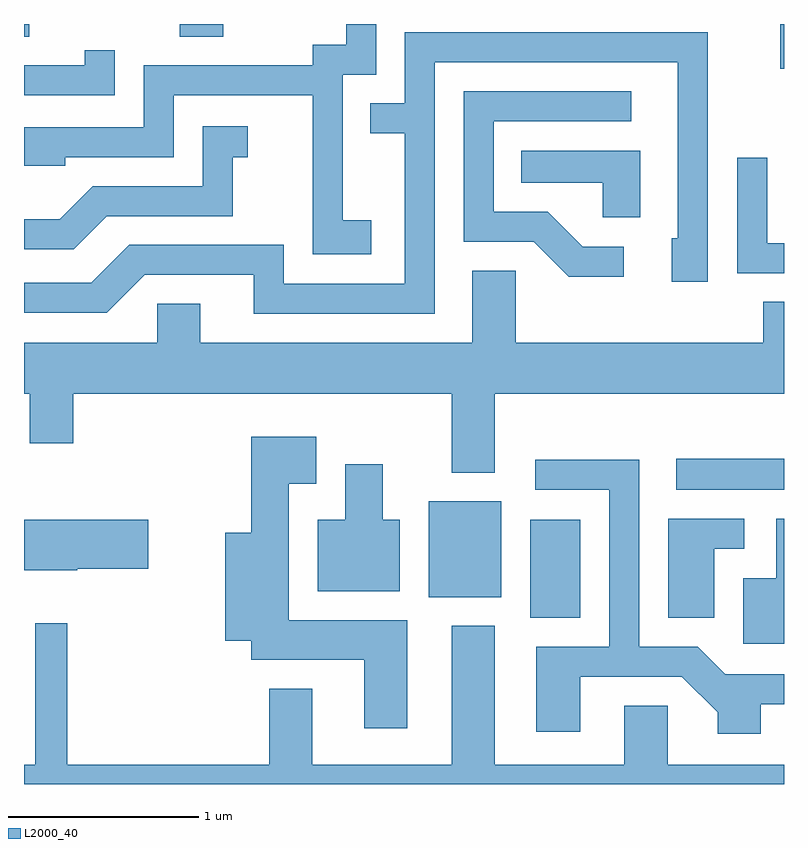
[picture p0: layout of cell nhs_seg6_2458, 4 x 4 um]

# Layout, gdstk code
import gdstk
lib = gdstk.Library(unit=1e-6, precision=1e-09)
def R(c, l, rs):  # rectangles x0, y0, x1, y1
    for r in rs: c.add(gdstk.rectangle(r[:2], r[2:], *l))
def P(c, l, *ps):  # polygons
    for p in ps: c.add(gdstk.Polygon(p, *l))
L2000_40 = (2000, 40)

nhs_seg6_2458 = lib.new_cell('nhs_seg6_2458')
R(nhs_seg6_2458, L2000_40, [(262.276,1591.036,262.539,1591.554), (261.741,1591.146,262.124,1591.649), (263.043,1591.711,263.611,1591.874), (263.591,1593.926,263.611,1594.162), (259.611,1594.096,259.639,1594.162), (260.431,1594.096,260.659,1594.162)])
P(nhs_seg6_2458, L2000_40, [(261.439,1593.129),(261.289,1593.129),(261.289,1593.896),(261.464,1593.896),(261.464,1594.162),(261.306,1594.162),(261.306,1594.054),(261.131,1594.054),(261.131,1593.944),(260.241,1593.944),(260.241,1593.619),(259.611,1593.619),(259.611,1593.416),(259.829,1593.416),(259.829,1593.461),(260.399,1593.461),(260.399,1593.786),(261.131,1593.786),(261.131,1592.951),(261.439,1592.951)],
  [(261.774,1593.961),(263.051,1593.961),(263.051,1593.034),(263.021,1593.034),(263.021,1592.806),(263.209,1592.806),(263.209,1594.119),(261.616,1594.119),(261.616,1593.744),(261.433,1593.744),(261.433,1593.586),(261.616,1593.586),(261.616,1592.794),(260.979,1592.794),(260.979,1592.999),(260.164,1592.999),(259.964,1592.799),(259.611,1592.799),(259.611,1592.641),(260.046,1592.641),(260.247,1592.841),(260.821,1592.841),(260.821,1592.636),(261.774,1592.636)],
  [(260.089,1594.023),(259.931,1594.023),(259.931,1593.944),(259.611,1593.944),(259.611,1593.786),(260.089,1593.786)],
  [(262.768,1592.989),(262.552,1592.989),(262.367,1593.174),(262.084,1593.174),(262.084,1593.651),(262.808,1593.651),(262.808,1593.809),(261.926,1593.809),(261.926,1593.016),(262.294,1593.016),(262.479,1592.831),(262.768,1592.831)],
  [(260.046,1593.151),(260.709,1593.151),(260.709,1593.461),(260.788,1593.461),(260.788,1593.624),(260.551,1593.624),(260.551,1593.309),(259.974,1593.309),(259.799,1593.134),(259.611,1593.134),(259.611,1592.976),(259.872,1592.976)],
  [(262.854,1593.494),(262.228,1593.494),(262.228,1593.326),(262.656,1593.326),(262.656,1593.146),(262.854,1593.146)],
  [(263.611,1593.009),(263.524,1593.009),(263.524,1593.458),(263.366,1593.458),(263.366,1592.851),(263.611,1592.851)],
  [(262.089,1592.216),(263.611,1592.216),(263.611,1592.699),(263.501,1592.699),(263.501,1592.484),(262.199,1592.484),(262.199,1592.864),(261.971,1592.864),(261.971,1592.484),(260.539,1592.484),(260.539,1592.689),(260.311,1592.689),(260.311,1592.484),(259.611,1592.484),(259.611,1592.216),(259.641,1592.216),(259.641,1591.956),(259.869,1591.956),(259.869,1592.216),(261.861,1592.216),(261.861,1591.801),(262.089,1591.801)],
  [(261.629,1591.024),(261.004,1591.024),(261.004,1591.741),(261.149,1591.741),(261.149,1591.989),(260.806,1591.989),(260.806,1591.484),(260.671,1591.484),(260.671,1590.916),(260.806,1590.916),(260.806,1590.816),(261.401,1590.816),(261.401,1590.456),(261.629,1590.456)],
  [(263.489,1590.581),(263.611,1590.581),(263.611,1590.739),(263.302,1590.739),(263.157,1590.884),(262.849,1590.884),(262.849,1591.869),(262.303,1591.869),(262.303,1591.711),(262.691,1591.711),(262.691,1590.884),(262.306,1590.884),(262.306,1590.436),(262.539,1590.436),(262.539,1590.726),(263.074,1590.726),(263.261,1590.539),(263.261,1590.426),(263.489,1590.426)],
  [(261.589,1591.554),(261.499,1591.554),(261.499,1591.844),(261.301,1591.844),(261.301,1591.554),(261.156,1591.554),(261.156,1591.176),(261.589,1591.176)],
  [(263.244,1591.401),(263.403,1591.401),(263.403,1591.559),(263.001,1591.559),(263.001,1591.036),(263.244,1591.036)],
  [(263.611,1591.559),(263.571,1591.559),(263.571,1591.244),(263.396,1591.244),(263.396,1590.901),(263.611,1590.901)],
  [(259.89,1591.296),(260.264,1591.296),(260.264,1591.554),(259.611,1591.554),(259.611,1591.286),(259.89,1591.286)],
  [(263.611,1590.264),(262.999,1590.264),(262.999,1590.574),(262.771,1590.574),(262.771,1590.264),(262.089,1590.264),(262.089,1590.994),(261.861,1590.994),(261.861,1590.264),(261.129,1590.264),(261.129,1590.664),(260.901,1590.664),(260.901,1590.264),(259.839,1590.264),(259.839,1591.008),(259.671,1591.008),(259.671,1590.264),(259.611,1590.264),(259.611,1590.162),(263.611,1590.162)])

lib.write_gds('nhs_seg6_2458.gds')
